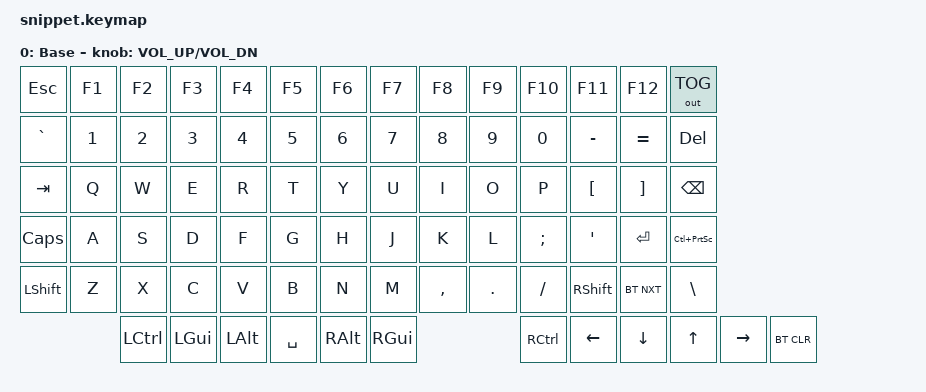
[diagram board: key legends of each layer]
#include <behaviors.dtsi>
#include <dt-bindings/zmk/bt.h>
#include <dt-bindings/zmk/keys.h>
#include <dt-bindings/zmk/outputs.h>

/ {
    keymap {
        compatible = "zmk,keymap";

        default_layer {
            display-name = "Base";
            bindings = <
&kp ESC  &kp F1  &kp F2     &kp F3        &kp F4    &kp F5  &kp F6  &kp F7     &kp F8    &kp F9         &kp F10    &kp F11   &kp F12   &out OUT_TOG
                 &kp GRAVE  &kp N1        &kp N2    &kp N3  &kp N4  &kp N5     &kp N6    &kp N7         &kp N8     &kp N9    &kp N0    &kp MINUS     &kp EQUAL   &kp DEL
                 &kp TAB    &kp Q         &kp W     &kp E   &kp R   &kp T      &kp Y     &kp U          &kp I      &kp O     &kp P     &kp LBKT      &kp RBKT    &kp BSPC
                 &kp CAPS   &kp A         &kp S     &kp D   &kp F   &kp G      &kp H     &kp J          &kp K      &kp L     &kp SEMI  &kp SQT       &kp ENTER   &kp LC(PRINTSCREEN)
                 &kp LSHFT  &kp Z         &kp X     &kp C   &kp V   &kp B      &kp N     &kp M          &kp COMMA  &kp DOT   &kp FSLH  &kp RSHFT     &bt BT_NXT  &kp BSLH
                 &kp LCTRL  &kp LEFT_GUI  &kp LALT                  &kp SPACE  &kp RALT  &kp RIGHT_GUI  &kp RCTRL  &kp LEFT  &kp DOWN  &kp UP_ARROW  &kp RIGHT   &bt BT_CLR
            >;

            sensor-bindings = <&inc_dec_kp C_VOL_UP C_VOL_DN>;
        };
    };
};
